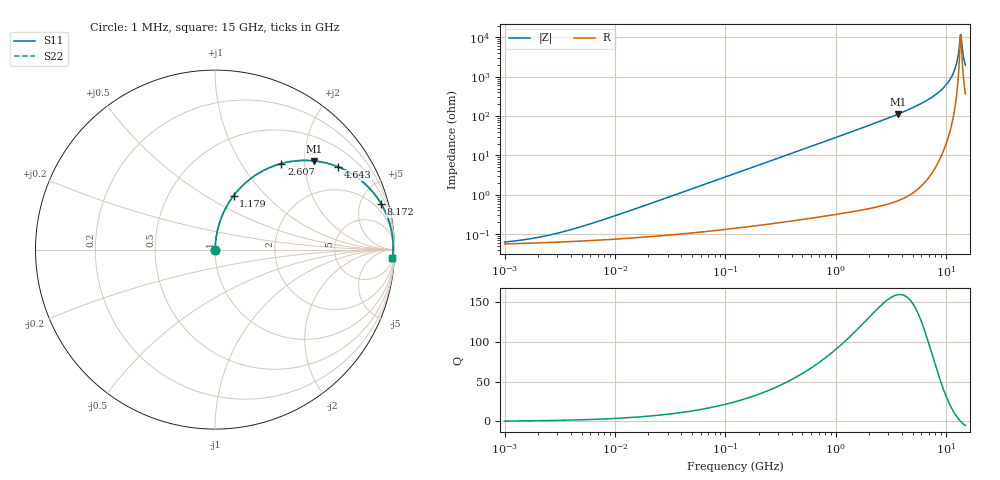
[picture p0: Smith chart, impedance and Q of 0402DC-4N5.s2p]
# MHz  S  MA  R  50
!Freq  MagS11  AngS11  MagS21  AngS21  MagS12  AngS12  MagS22  AngS22
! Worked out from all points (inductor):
!   801 points, 1 MHz to 15 GHz, reference 50 ohm
!   read as one part in series: L = 4.5 nH near 7.543 MHz
!   highest Q = 159 at 3.651 GHz (marker M1), where L = 4.85 nH
!   self-resonance near 13.54 GHz
!   S11 on the Smith chart (normalised r, x): 1 MHz: 1.00, +0.00; 1.179 GHz: 1.01, +0.67; 2.607 GHz: 1.01, +1.53; 4.643 GHz: 1.02, +2.97; 8.172 GHz: 1.11, +7.23; 15 GHz: 8, -38
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1  0.0006301 26.6  0.9994 -0.0  0.9994 -0.0  0.0006301 26.6
2.185358  0.0008632 45.6  0.9994 -0.0  0.9994 -0.0  0.0008632 45.6
5.011168  0.001565 64.7  0.9993 -0.1  0.9993 -0.1  0.001565 64.7
24.81158  0.007066 82.3  0.9991 -0.4  0.9991 -0.4  0.007066 82.3
122.8485  0.0347 85.7  0.998 -2.0  0.998 -2.0  0.0347 85.7
608.2547  0.1694 79.4  0.983 -9.8  0.983 -9.8  0.1694 79.4
1178.62  0.3173 70.9  0.9451 -18.5  0.9451 -18.5  0.3173 70.9
1774.068  0.453 62.6  0.8878 -26.9  0.8878 -26.9  0.453 62.6
2606.873  0.6057 52.3  0.7916 -37.3  0.7916 -37.3  0.6057 52.3
3048.066  0.6698 47.6  0.7382 -42.1  0.7382 -42.1  0.6698 47.6
3650.697  0.7413 41.8  0.6665 -47.8  0.6665 -47.8  0.7413 41.8
4643.487  0.8271 33.8  0.5566 -55.8  0.5566 -55.8  0.8271 33.8
6348.239  0.9138 23.5  0.3983 -66.0  0.3983 -66.0  0.9138 23.5
8172.317  0.9601 15.4  0.2657 -73.7  0.2657 -73.7  0.9601 15.4
9906.495  0.9814 9.5  0.1648 -78.8  0.1648 -78.8  0.9814 9.5
11307.79  0.9895 5.5  0.09607 -81.0  0.09607 -81.0  0.9895 5.5
12301.04  0.9919 3.0  0.05272 -79.6  0.05272 -79.6  0.9919 3.0
12600.52  0.9922 2.3  0.04047 -77.7  0.04047 -77.7  0.9922 2.3
13063.48  0.9923 1.2  0.02252 -69.4  0.02252 -69.4  0.9923 1.2
13543.44  0.992 0.2  0.00838 -18.2  0.00838 -18.2  0.992 0.2
14041.04  0.9914 -0.9  0.01804 61.1  0.01804 61.1  0.9914 -0.9
15000  0.9893 -2.9  0.0508 76.4  0.0508 76.4  0.9893 -2.9
